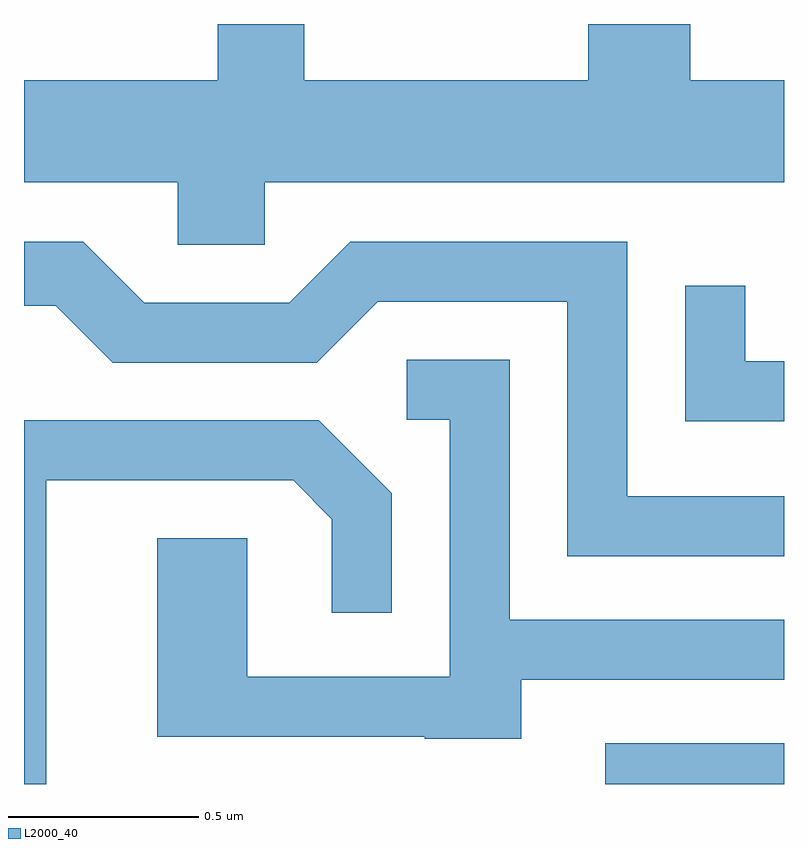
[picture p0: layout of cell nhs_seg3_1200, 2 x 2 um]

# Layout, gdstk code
import gdstk
lib = gdstk.Library(unit=1e-6, precision=1e-09)
def R(c, l, rs):  # rectangles x0, y0, x1, y1
    for r in rs: c.add(gdstk.rectangle(r[:2], r[2:], *l))
def P(c, l, *ps):  # polygons
    for p in ps: c.add(gdstk.Polygon(p, *l))
L2000_40 = (2000, 40)

nhs_seg3_1200 = lib.new_cell('nhs_seg3_1200')
R(nhs_seg3_1200, L2000_40, [(195.141,1219.892,195.611,1219.999)])
P(nhs_seg3_1200, L2000_40, [(194.244,1221.476),(195.611,1221.476),(195.611,1221.744),(195.364,1221.744),(195.364,1221.892),(195.096,1221.892),(195.096,1221.744),(194.349,1221.744),(194.349,1221.892),(194.121,1221.892),(194.121,1221.744),(193.611,1221.744),(193.611,1221.476),(194.016,1221.476),(194.016,1221.311),(194.244,1221.311)],
  [(195.611,1220.649),(195.199,1220.649),(195.199,1221.319),(194.469,1221.319),(194.309,1221.159),(193.927,1221.159),(193.767,1221.319),(193.611,1221.319),(193.611,1221.151),(193.694,1221.151),(193.844,1221.001),(194.382,1221.001),(194.542,1221.161),(195.041,1221.161),(195.041,1220.491),(195.611,1220.491)],
  [(195.611,1221.004),(195.509,1221.004),(195.509,1221.203),(195.351,1221.203),(195.351,1220.846),(195.611,1220.846)],
  [(194.919,1220.166),(195.611,1220.166),(195.611,1220.324),(194.889,1220.324),(194.889,1221.009),(194.618,1221.009),(194.618,1220.851),(194.731,1220.851),(194.731,1220.174),(194.199,1220.174),(194.199,1220.539),(193.961,1220.539),(193.961,1220.016),(194.665,1220.016),(194.665,1220.011),(194.919,1220.011)],
  [(193.669,1220.691),(194.319,1220.691),(194.421,1220.589),(194.421,1220.343),(194.579,1220.343),(194.579,1220.657),(194.387,1220.849),(193.611,1220.849),(193.611,1219.892),(193.669,1219.892)])

lib.write_gds('nhs_seg3_1200.gds')
